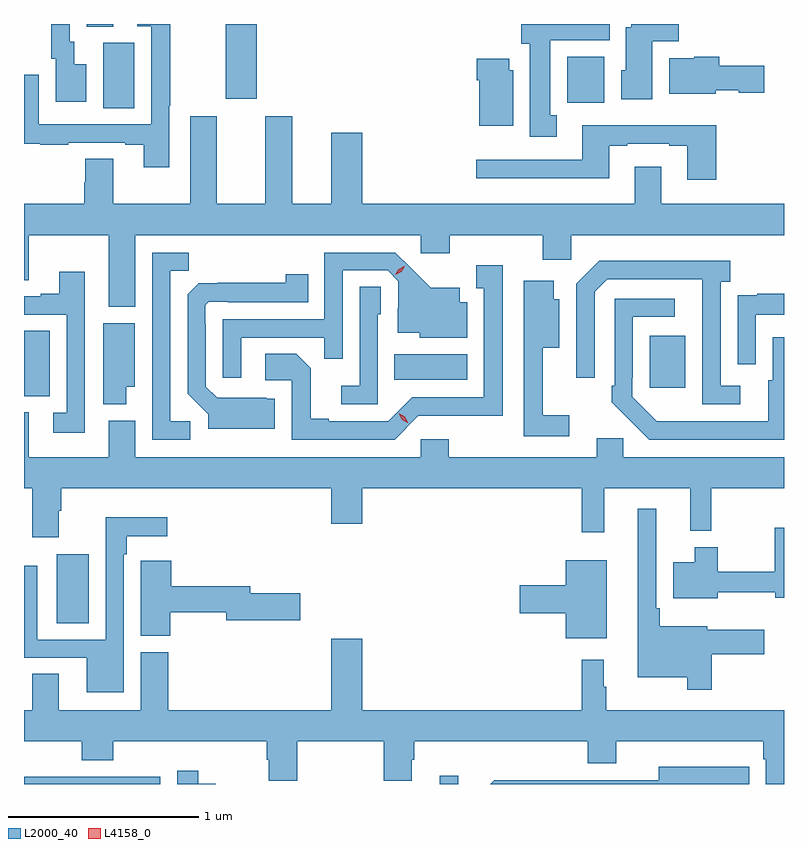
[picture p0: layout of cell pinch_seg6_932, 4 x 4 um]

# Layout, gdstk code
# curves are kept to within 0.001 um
import gdstk
lib = gdstk.Library(unit=1e-6, precision=1e-09)
def R(c, l, rs):  # rectangles x0, y0, x1, y1
    for r in rs: c.add(gdstk.rectangle(r[:2], r[2:], *l))
def P(c, l, *ps):  # polygons
    for p in ps: c.add(gdstk.Polygon(p, *l))
L2000_40 = (2000, 40)
L4158_0 = (4158, 0)

pinch_seg6_932 = lib.new_cell('pinch_seg6_932')
R(pinch_seg6_932, L2000_40, [(333.413,921.803,333.51,921.847), (331.397,922.648,331.564,923.011), (331.224,923.845,331.36,924.188), (334.517,923.889,334.705,924.163), (333.172,923.93,333.556,924.064), (331.64,925.36,331.804,925.704), (334.082,925.388,334.279,925.63), (332.285,925.41,332.449,925.803), (331.553,925.789,331.693,925.803)])
P(pinch_seg6_932, L2000_40, [(334.531,925.712),(334.67,925.712),(334.67,925.803),(334.421,925.803),(334.421,925.786),(334.391,925.786),(334.391,925.56),(334.367,925.56),(334.367,925.406),(334.531,925.406)],
  [(334.027,925.322),(333.994,925.322),(333.994,925.718),(334.306,925.718),(334.306,925.803),(333.842,925.803),(333.842,925.698),(333.887,925.698),(333.887,925.209),(334.027,925.209)],
  [(331.989,925.372),(331.994,925.372),(331.994,925.803),(331.821,925.803),(331.821,925.791),(331.893,925.791),(331.893,925.275),(331.302,925.275),(331.302,925.537),(331.224,925.537),(331.224,925.173),(331.309,925.173),(331.309,925.167),(331.457,925.167),(331.457,925.179),(331.757,925.179),(331.757,925.167),(331.853,925.167),(331.853,925.05),(331.989,925.05)],
  [(331.552,925.591),(331.489,925.591),(331.489,925.71),(331.464,925.71),(331.464,925.803),(331.367,925.803),(331.367,925.62),(331.391,925.62),(331.391,925.395),(331.552,925.395)],
  [(334.866,925.454),(334.986,925.454),(334.986,925.442),(335.119,925.442),(335.119,925.584),(334.883,925.584),(334.883,925.63),(334.752,925.63),(334.752,925.624),(334.619,925.624),(334.619,925.436),(334.866,925.436)],
  [(333.799,925.56),(333.778,925.56),(333.778,925.621),(333.608,925.621),(333.608,925.508),(333.62,925.508),(333.62,925.268),(333.799,925.268)],
  [(331.81,924.692),(333.312,924.692),(333.312,924.597),(333.464,924.597),(333.464,924.692),(333.953,924.692),(333.953,924.561),(334.104,924.561),(334.104,924.692),(335.224,924.692),(335.224,924.856),(334.579,924.856),(334.579,925.051),(334.439,925.051),(334.439,924.856),(333.004,924.856),(333.004,925.231),(332.84,925.231),(332.84,924.856),(332.635,924.856),(332.635,925.318),(332.495,925.318),(332.495,924.856),(332.239,924.856),(332.239,925.318),(332.099,925.318),(332.099,924.856),(331.693,924.856),(331.693,925.094),(331.546,925.094),(331.546,924.969),(331.541,924.969),(331.541,924.856),(331.224,924.856),(331.224,924.454),(331.249,924.454),(331.249,924.692),(331.67,924.692),(331.67,924.314),(331.81,924.314)],
  [(334.868,925.27),(334.163,925.27),(334.163,925.089),(333.603,925.089),(333.603,924.992),(334.303,924.992),(334.303,925.161),(334.399,925.161),(334.399,925.173),(334.619,925.173),(334.619,925.161),(334.715,925.161),(334.715,924.984),(334.868,924.984)],
  [(332.098,923.712),(331.995,923.712),(331.995,924.505),(332.091,924.505),(332.091,924.6),(331.899,924.6),(331.899,923.616),(332.098,923.616)],
  [(332.367,924.153),(332.803,924.153),(332.803,924.04),(332.901,924.04),(332.901,924.507),(333.138,924.507),(333.195,924.45),(333.195,924.308),(333.191,924.308),(333.191,924.179),(333.306,924.179),(333.306,924.152),(333.556,924.152),(333.556,924.339),(333.517,924.339),(333.517,924.415),(333.365,924.415),(333.178,924.6),(332.805,924.6),(332.805,924.249),(332.271,924.249),(332.271,923.94),(332.367,923.94)],
  [(334.993,923.898),(334.89,923.898),(334.89,924.446),(334.942,924.446),(334.942,924.556),(334.252,924.556),(334.131,924.435),(334.131,923.94),(334.227,923.94),(334.227,924.393),(334.293,924.459),(334.793,924.459),(334.794,923.802),(334.993,923.802)],
  [(333.3,923.742),(333.745,923.741),(333.745,924.532),(333.605,924.532),(333.605,924.411),(333.644,924.411),(333.644,923.838),(333.267,923.838),(333.141,923.712),(332.827,923.712),(332.827,923.725),(332.733,923.725),(332.733,923.992),(332.657,924.068),(332.493,924.068),(332.493,923.928),(332.634,923.928),(332.634,923.616),(333.174,923.616)],
  [(331.545,924.499),(331.409,924.499),(331.409,924.382),(331.313,924.382),(331.313,924.369),(331.224,924.369),(331.224,924.273),(331.449,924.273),(331.449,923.757),(331.377,923.757),(331.377,923.652),(331.545,923.652)],
  [(332.545,923.83),(332.504,923.83),(332.498,923.836),(332.241,923.835),(332.181,923.895),(332.181,924.224),(332.178,924.224),(332.178,924.324),(332.196,924.342),(332.296,924.342),(332.296,924.339),(332.72,924.339),(332.72,924.487),(332.602,924.487),(332.602,924.44),(332.144,924.439),(332.085,924.38),(332.085,923.858),(332.195,923.748),(332.195,923.672),(332.545,923.672)],
  [(334.093,923.743),(333.953,923.743),(333.953,924.098),(334.042,924.098),(334.042,924.355),(334.012,924.355),(334.012,924.451),(333.854,924.451),(333.854,924.202),(333.855,924.202),(333.855,923.634),(334.093,923.634)],
  [(333.087,924.276),(333.102,924.276),(333.102,924.419),(332.991,924.419),(332.991,923.899),(332.895,923.899),(332.895,923.802),(333.087,923.802)],
  [(335.076,924.273),(335.224,924.273),(335.224,924.382),(335.083,924.382),(335.083,924.375),(334.981,924.375),(334.981,924.266),(334.98,924.266),(334.98,924.012),(335.076,924.012)],
  [(335.224,924.154),(335.165,924.154),(335.165,923.928),(335.141,923.928),(335.141,923.712),(334.554,923.713),(334.425,923.841),(334.425,923.941),(334.428,923.941),(334.428,924.261),(334.648,924.261),(334.648,924.357),(334.332,924.357),(334.332,923.899),(334.317,923.899),(334.317,923.811),(334.514,923.616),(335.224,923.616)],
  [(331.762,923.894),(331.807,923.894),(331.807,924.229),(331.64,924.229),(331.64,923.801),(331.762,923.801)],
  [(331.249,923.76),(331.224,923.76),(331.224,923.36),(331.268,923.36),(331.268,923.103),(331.408,923.103),(331.408,923.24),(331.421,923.24),(331.421,923.36),(332.84,923.36),(332.84,923.172),(333.004,923.172),(333.004,923.36),(334.159,923.36),(334.159,923.127),(334.277,923.127),(334.277,923.36),(334.73,923.36),(334.73,923.135),(334.84,923.135),(334.84,923.36),(335.224,923.36),(335.224,923.524),(334.377,923.524),(334.377,923.622),(334.238,923.622),(334.238,923.524),(333.459,923.524),(333.459,923.617),(333.312,923.617),(333.312,923.524),(331.81,923.524),(331.81,923.716),(331.67,923.716),(331.67,923.524),(331.249,923.524)],
  [(334.844,922.486),(335.119,922.486),(335.119,922.615),(334.821,922.615),(334.821,922.633),(334.571,922.633),(334.571,922.729),(334.551,922.729),(334.551,923.251),(334.454,923.251),(334.454,922.364),(334.716,922.364),(334.716,922.299),(334.844,922.299)],
  [(331.749,923.012),(331.765,923.012),(331.765,923.108),(331.978,923.108),(331.978,923.206),(331.653,923.206),(331.653,922.563),(331.293,922.563),(331.293,922.951),(331.224,922.951),(331.224,922.467),(331.553,922.467),(331.553,922.286),(331.749,922.286)],
  [(334.876,922.811),(335.178,922.811),(335.178,922.784),(335.224,922.784),(335.224,923.152),(335.174,923.152),(335.174,922.921),(334.876,922.921),(334.876,923.05),(334.754,923.05),(334.754,922.969),(334.64,922.969),(334.64,922.781),(334.876,922.781)],
  [(334.291,922.981),(334.076,922.981),(334.076,922.85),(333.834,922.85),(333.834,922.703),(334.076,922.703),(334.076,922.571),(334.291,922.571)],
  [(331.995,922.708),(332.288,922.708),(332.288,922.666),(332.677,922.666),(332.677,922.808),(332.416,922.808),(332.416,922.844),(332,922.844),(332,922.978),(331.839,922.978),(331.839,922.865),(331.838,922.865),(331.838,922.582),(331.995,922.582)],
  [(335.224,922.192),(334.288,922.192),(334.288,922.316),(334.276,922.316),(334.276,922.456),(334.159,922.456),(334.159,922.192),(333.004,922.192),(333.004,922.567),(332.84,922.567),(332.84,922.192),(331.982,922.192),(331.982,922.497),(331.838,922.497),(331.838,922.192),(331.408,922.192),(331.408,922.382),(331.268,922.382),(331.268,922.192),(331.224,922.192),(331.224,922.028),(331.529,922.028),(331.529,921.929),(331.694,921.929),(331.694,922.028),(332.501,922.028),(332.501,921.93),(332.513,921.93),(332.513,921.82),(332.661,921.82),(332.661,922.028),(333.118,922.028),(333.118,921.82),(333.265,921.82),(333.265,921.93),(333.278,921.93),(333.278,922.028),(334.19,922.028),(334.19,921.911),(334.342,921.911),(334.342,922.028),(335.114,922.028),(335.114,921.932),(335.127,921.932),(335.127,921.803),(335.224,921.803)],
  [(335.042,921.894),(334.934,921.894),(334.934,921.895),(334.566,921.895),(334.566,921.822),(334.106,921.822),(334.106,921.824),(333.698,921.824),(333.677,921.803),(335.042,921.803)],
  [(332.232,921.804),(332.14,921.804),(332.14,921.874),(332.031,921.874),(332.031,921.803),(332.232,921.803)],
  [(331.941,921.84),(331.445,921.84),(331.445,921.842),(331.224,921.842),(331.224,921.803),(331.941,921.803)])
P(pinch_seg6_932, L4158_0, [(333.178,924.483),(333.178,924.483),(333.196,924.513),(333.226,924.528),(333.227,924.528),(333.227,924.528),(333.209,924.498),(333.178,924.483)],
  [(333.246,923.702),(333.214,923.721),(333.196,923.754),(333.196,923.754),(333.197,923.754),(333.228,923.735),(333.246,923.702),(333.246,923.702)])

lib.write_gds('pinch_seg6_932.gds')
